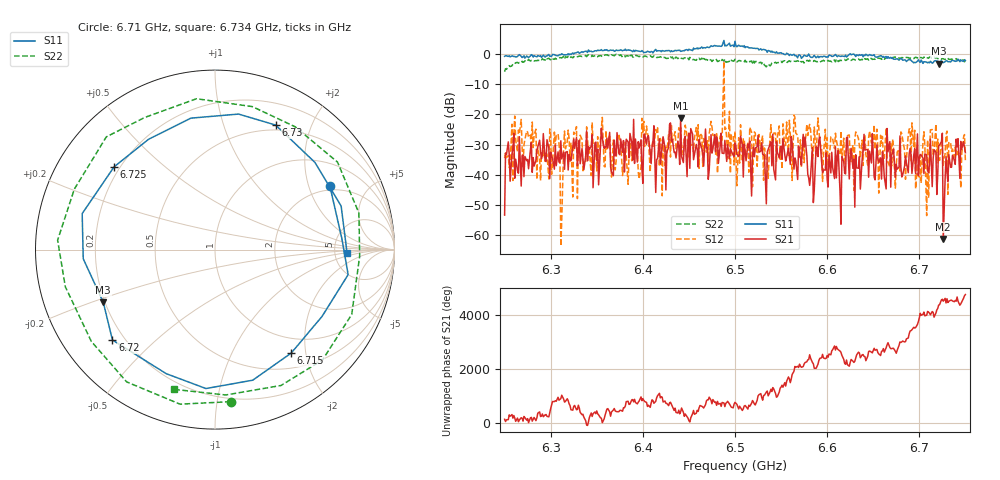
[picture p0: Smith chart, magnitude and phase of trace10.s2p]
# Hz S RI R 50
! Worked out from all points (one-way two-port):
!   401 points, 6.25 GHz to 6.75 GHz, reference 50 ohm
!   highest |S21| = -21.31 dB at 6.441 GHz (marker M1); lowest = -61.2 dB at 6.726 GHz (marker M2)
!   lowest |S11| = -3.2 dB at 6.721 GHz (marker M3), VSWR 5.41, Z = 9.68 - j10.8 ohm
!   |S11| at or under -10 dB: nowhere
!   |S22| runs from -5.9 to -0.1 dB; largest |S21 - S12| = 0.74
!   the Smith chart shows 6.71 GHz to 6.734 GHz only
!   S11 on the Smith chart (normalised r, x): 6.71 GHz: 1.81, +2.77; 6.715 GHz: 0.74, -1.74; 6.72 GHz: 0.15, -0.37; 6.725 GHz: 0.18, +0.35; 6.73 GHz: 0.44, +1.51; 6.734 GHz: 6.54, -0.59
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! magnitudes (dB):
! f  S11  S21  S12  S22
! 6.25 GHz  -0.8  -53.3  -34.5  -5.9
! 6.258 GHz  -0.7  -33.2  -23.3  -3.9
! 6.306 GHz  -0.6  -37.0  -26.8  -1.7
! 6.311 GHz  -0.3  -28.7  -63.6  -1.3
! 6.334 GHz  0.7  -31.3  -28.3  -0.9
! 6.418 GHz  1.0  -28.1  -37.3  -1.1
! 6.441 GHz  0.8  -21.3  -24.4  -1.3
! 6.488 GHz  4.4  -33.0  -2.4  -2.3
! 6.5 GHz  4.2  -29.5  -25.5  -1.8
! 6.584 GHz  -1.2  -30.9  -35.0  -2.4
! 6.59 GHz  -0.7  -34.0  -21.2  -2.6
! 6.616 GHz  -0.7  -33.9  -34.3  -2.1
! 6.668 GHz  -1.5  -29.0  -37.4  -1.4
! 6.71 GHz  -2.7  -39.3  -47.7  -1.4
! 6.715 GHz  -2.9  -34.6  -33.7  -1.3
! 6.72 GHz  -2.4  -39.8  -28.1  -1.6
! 6.721 GHz  -3.2  -30.5  -33.7  -1.4
! 6.725 GHz  -2.8  -26.2  -31.0  -1.5
! 6.726 GHz  -2.9  -61.2  -36.9  -1.6
! 6.73 GHz  -2.2  -38.9  -25.5  -1.3
! 6.734 GHz  -2.7  -37.5  -29.5  -1.8
! 6.75 GHz  -2.2  -32.7  -35.4  -2.0
